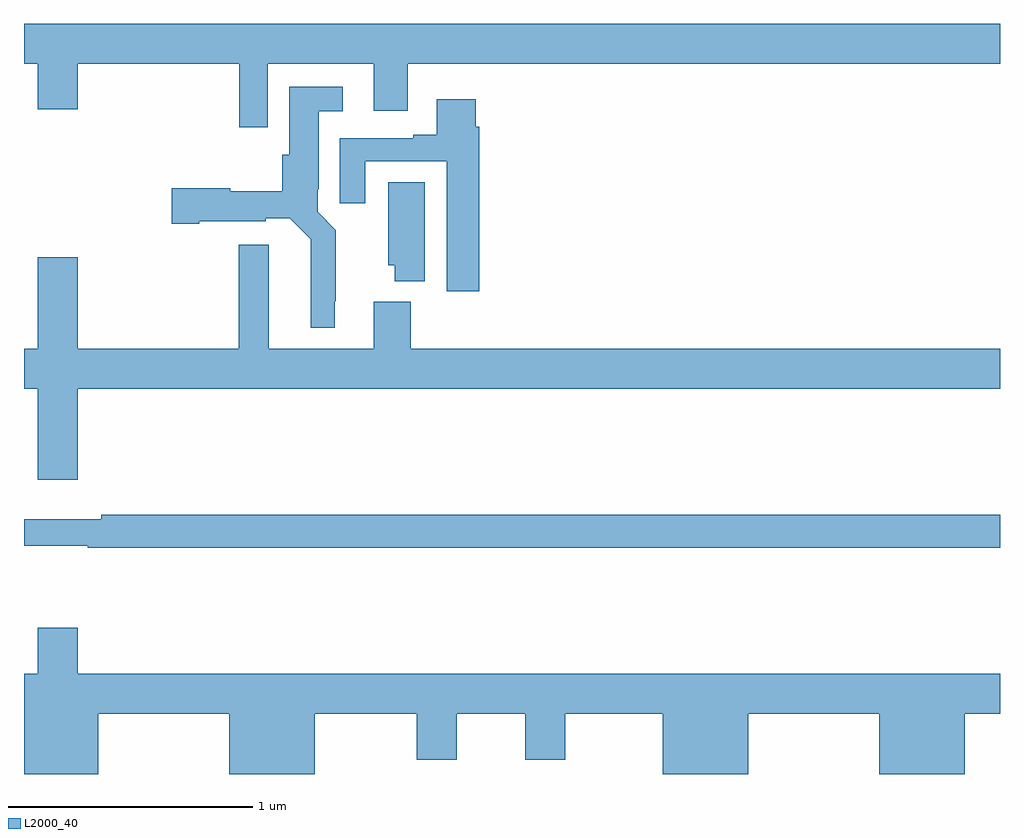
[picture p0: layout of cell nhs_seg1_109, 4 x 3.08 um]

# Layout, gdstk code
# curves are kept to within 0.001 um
import gdstk
lib = gdstk.Library(unit=1e-6, precision=1e-09)
def P(c, l, *ps):  # polygons
    for p in ps: c.add(gdstk.Polygon(p, *l))
L2000_40 = (2000, 40)

nhs_seg1_109 = lib.new_cell('nhs_seg1_109')
P(nhs_seg1_109, L2000_40, [(117.999,505.112),(118.433,505.112),(118.433,504.918),(118.573,504.918),(118.573,505.112),(121,505.112),(121,505.276),(117,505.276),(117,505.112),(117.056,505.112),(117.056,504.924),(117.22,504.924),(117.22,505.112),(117.883,505.112),(117.883,504.852),(117.999,504.852)],
  [(118.273,504.139),(118.277,504.139),(118.277,504.43),(118.203,504.504),(118.203,504.598),(118.207,504.598),(118.207,504.917),(118.306,504.917),(118.306,505.018),(118.088,505.018),(118.088,504.738),(118.058,504.738),(118.058,504.589),(117.846,504.589),(117.846,504.602),(117.606,504.602),(117.606,504.455),(117.718,504.455),(117.718,504.467),(117.99,504.467),(117.99,504.479),(118.089,504.479),(118.176,504.392),(118.175,504.029),(118.273,504.029)],
  [(118.865,504.854),(118.852,504.854),(118.852,504.967),(118.691,504.967),(118.691,504.82),(118.595,504.82),(118.595,504.807),(118.295,504.807),(118.295,504.54),(118.399,504.54),(118.399,504.711),(118.733,504.711),(118.733,504.18),(118.865,504.18)],
  [(118.642,504.626),(118.493,504.626),(118.493,504.285),(118.52,504.285),(118.52,504.221),(118.642,504.221)],
  [(117.22,503.78),(121,503.78),(121,503.944),(118.586,503.944),(118.586,504.136),(118.433,504.136),(118.433,503.944),(118.003,503.944),(118.003,504.37),(117.881,504.37),(117.881,503.944),(117.22,503.944),(117.22,504.319),(117.056,504.319),(117.056,503.944),(117,503.944),(117,503.78),(117.056,503.78),(117.056,503.406),(117.22,503.406)],
  [(121,503.264),(117.316,503.264),(117.316,503.245),(117,503.245),(117,503.136),(117.262,503.136),(117.262,503.128),(121,503.128)],
  [(117.304,502.448),(117.842,502.448),(117.842,502.199),(118.192,502.199),(118.192,502.448),(118.61,502.448),(118.61,502.26),(118.774,502.26),(118.774,502.448),(119.054,502.448),(119.054,502.26),(119.218,502.26),(119.218,502.448),(119.618,502.448),(119.618,502.199),(119.968,502.199),(119.968,502.448),(120.506,502.448),(120.506,502.199),(120.856,502.199),(120.856,502.448),(121,502.448),(121,502.612),(117.22,502.612),(117.22,502.801),(117.056,502.801),(117.056,502.612),(117,502.612),(117,502.199),(117.304,502.199)])

lib.write_gds('nhs_seg1_109.gds')
